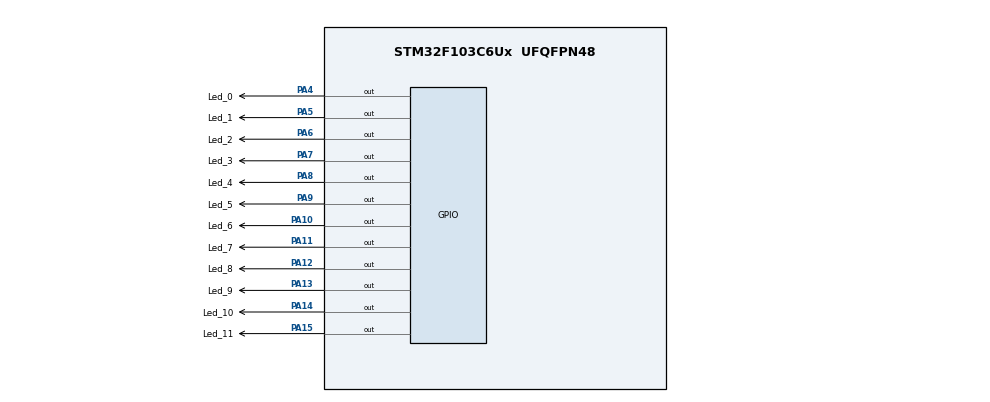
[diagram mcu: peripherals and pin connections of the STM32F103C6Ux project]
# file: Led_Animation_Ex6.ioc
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Mcu.Family=STM32F1
Mcu.Name=STM32F103C6Ux
Mcu.Package=UFQFPN48
NVIC.PriorityGroup=NVIC_PRIORITYGROUP_4
PA10.GPIO_Label=Led_6
PA10.Signal=GPIO_Output
PA11.GPIO_Label=Led_7
PA11.Signal=GPIO_Output
PA12.GPIO_Label=Led_8
PA12.Signal=GPIO_Output
PA13.GPIO_Label=Led_9
PA13.Signal=GPIO_Output
PA14.GPIO_Label=Led_10
PA14.Signal=GPIO_Output
PA15.GPIO_Label=Led_11
PA15.Signal=GPIO_Output
PA4.GPIO_Label=Led_0
PA4.Signal=GPIO_Output
PA5.GPIO_Label=Led_1
PA5.Signal=GPIO_Output
PA6.GPIO_Label=Led_2
PA6.Signal=GPIO_Output
PA7.GPIO_Label=Led_3
PA7.Signal=GPIO_Output
PA8.GPIO_Label=Led_4
PA8.Signal=GPIO_Output
PA9.GPIO_Label=Led_5
PA9.Signal=GPIO_Output
PC14-OSC32_IN.Mode=LSE-External-Oscillator
PC14-OSC32_IN.Signal=RCC_OSC32_IN
PC15-OSC32_OUT.Mode=LSE-External-Oscillator
PC15-OSC32_OUT.Signal=RCC_OSC32_OUT
PD0-OSC_IN.Mode=HSE-External-Oscillator
PD0-OSC_IN.Signal=RCC_OSC_IN
PD1-OSC_OUT.Mode=HSE-External-Oscillator
PD1-OSC_OUT.Signal=RCC_OSC_OUT
ProjectManager.HeapSize=0x200
ProjectManager.StackSize=0x400
ProjectManager.TargetToolchain=STM32CubeIDE
RCC.APB1Freq_Value=8000000
RCC.APB2Freq_Value=8000000
VP_SYS_VS_ND.Mode=No_Debug
board=custom

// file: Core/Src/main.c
/* USER CODE BEGIN Header */
/**
  ******************************************************************************
  * @file           : main.c
  * @brief          : Main program body
  ******************************************************************************
  * @attention
  *
  * <h2><center>&copy; Copyright (c) 2025 STMicroelectronics.
  * All rights reserved.</center></h2>
  *
  * This software component is licensed by ST under BSD 3-Clause license,
  * the "License"; You may not use this file except in compliance with the
  * License. You may obtain a copy of the License at:
  *                        opensource.org/licenses/BSD-3-Clause
  *
  ******************************************************************************
  */
/* USER CODE END Header */
#include "main.h"

/* USER CODE BEGIN PV */
uint8_t shifter = 0;
uint8_t counter = 0;
/* USER CODE END PV */

void SystemClock_Config(void);
static void MX_GPIO_Init(void);

int main(void)
{

  /* MCU Configuration--------------------------------------------------------*/

  /* Reset of all peripherals, Initializes the Flash interface and the Systick. */
  HAL_Init();

  /* Configure the system clock */
  SystemClock_Config();

  /* Initialize all configured peripherals */
  MX_GPIO_Init();

  /* Infinite loop */
  /* USER CODE BEGIN WHILE */
  while (1)
  {
	// In this LED, ReSet -> turn on LED, Set -> turn off LED
	if(shifter == 12) shifter = 0;

	if(counter  <= 0){
		if(shifter == 0){
			HAL_GPIO_WritePin(GPIOA, Led_0_Pin, GPIO_PIN_RESET);
			for(int i = 1; i <= 11; ++i){
				  HAL_GPIO_WritePin(GPIOA, Led_0_Pin << i, GPIO_PIN_SET);
			}
			shifter++;
		}
		else{
			HAL_GPIO_WritePin(GPIOA, Led_0_Pin << shifter, GPIO_PIN_RESET);
			HAL_GPIO_WritePin(GPIOA, Led_0_Pin << (shifter - 1), GPIO_PIN_SET);
			shifter++;
		}
		counter = 100;
	}

	counter--;
	HAL_Delay(10);

    /* USER CODE END WHILE */

  }
}

void SystemClock_Config(void)
{
  RCC_OscInitTypeDef RCC_OscInitStruct = {0};
  RCC_ClkInitTypeDef RCC_ClkInitStruct = {0};

  /** Initializes the RCC Oscillators according to the specified parameters
  * in the RCC_OscInitTypeDef structure.
  */
  RCC_OscInitStruct.OscillatorType = RCC_OSCILLATORTYPE_HSI;
  RCC_OscInitStruct.HSIState = RCC_HSI_ON;
  RCC_OscInitStruct.HSICalibrationValue = RCC_HSICALIBRATION_DEFAULT;
  RCC_OscInitStruct.PLL.PLLState = RCC_PLL_NONE;
  if (HAL_RCC_OscConfig(&RCC_OscInitStruct) != HAL_OK)
  {
    Error_Handler();
  }
  /** Initializes the CPU, AHB and APB buses clocks
  */
  RCC_ClkInitStruct.ClockType = RCC_CLOCKTYPE_HCLK|RCC_CLOCKTYPE_SYSCLK
                              |RCC_CLOCKTYPE_PCLK1|RCC_CLOCKTYPE_PCLK2;
  RCC_ClkInitStruct.SYSCLKSource = RCC_SYSCLKSOURCE_HSI;
  RCC_ClkInitStruct.AHBCLKDivider = RCC_SYSCLK_DIV1;
  RCC_ClkInitStruct.APB1CLKDivider = RCC_HCLK_DIV1;
  RCC_ClkInitStruct.APB2CLKDivider = RCC_HCLK_DIV1;

  if (HAL_RCC_ClockConfig(&RCC_ClkInitStruct, FLASH_LATENCY_0) != HAL_OK)
  {
    Error_Handler();
  }
}

static void MX_GPIO_Init(void)
{
  GPIO_InitTypeDef GPIO_InitStruct = {0};

  /* GPIO Ports Clock Enable */
  __HAL_RCC_GPIOC_CLK_ENABLE();
  __HAL_RCC_GPIOD_CLK_ENABLE();
  __HAL_RCC_GPIOA_CLK_ENABLE();

  /*Configure GPIO pin Output Level */
  HAL_GPIO_WritePin(GPIOA, Led_0_Pin|Led_1_Pin|Led_2_Pin|Led_3_Pin
                          |Led_4_Pin|Led_5_Pin|Led_6_Pin|Led_7_Pin
                          |Led_8_Pin|Led_9_Pin|Led_10_Pin|Led_11_Pin, GPIO_PIN_RESET);

  /*Configure GPIO pins : Led_0_Pin Led_1_Pin Led_2_Pin Led_3_Pin
                           Led_4_Pin Led_5_Pin Led_6_Pin Led_7_Pin
                           Led_8_Pin Led_9_Pin Led_10_Pin Led_11_Pin */
  GPIO_InitStruct.Pin = Led_0_Pin|Led_1_Pin|Led_2_Pin|Led_3_Pin
                          |Led_4_Pin|Led_5_Pin|Led_6_Pin|Led_7_Pin
                          |Led_8_Pin|Led_9_Pin|Led_10_Pin|Led_11_Pin;
  GPIO_InitStruct.Mode = GPIO_MODE_OUTPUT_PP;
  GPIO_InitStruct.Pull = GPIO_NOPULL;
  GPIO_InitStruct.Speed = GPIO_SPEED_FREQ_LOW;
  HAL_GPIO_Init(GPIOA, &GPIO_InitStruct);

}

void Error_Handler(void)
{
  __disable_irq();
  while (1)
  {
  }
}

/************************ (C) COPYRIGHT STMicroelectronics *****END OF FILE****/
